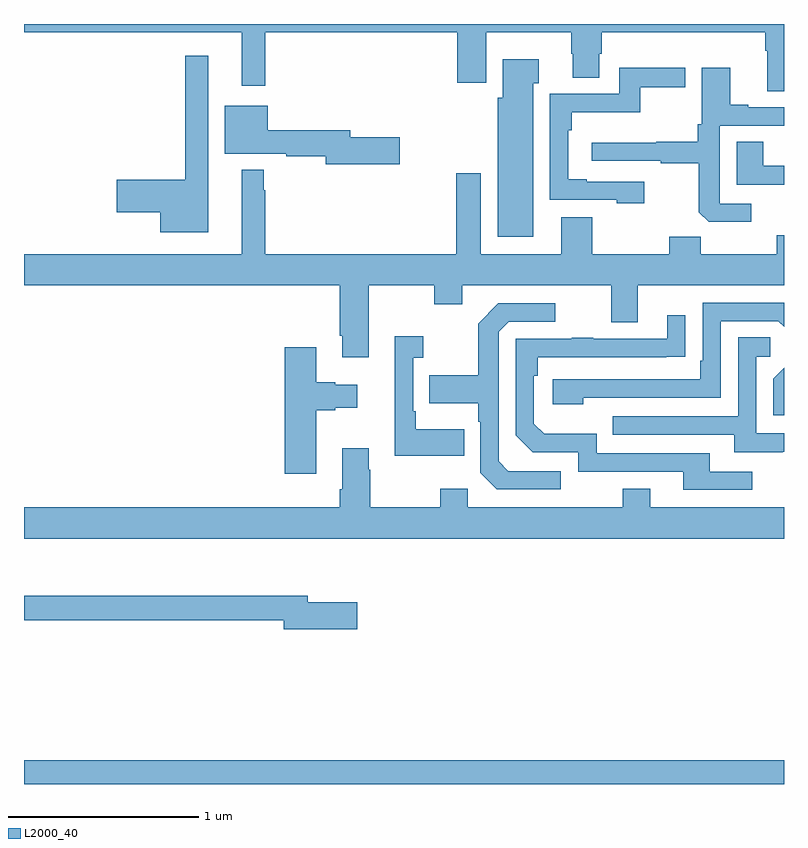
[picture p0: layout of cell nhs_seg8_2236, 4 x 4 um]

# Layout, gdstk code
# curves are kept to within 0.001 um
import gdstk
lib = gdstk.Library(unit=1e-6, precision=1e-09)
def R(c, l, rs):  # rectangles x0, y0, x1, y1
    for r in rs: c.add(gdstk.rectangle(r[:2], r[2:], *l))
def P(c, l, *ps):  # polygons
    for p in ps: c.add(gdstk.Polygon(p, *l))
L2000_40 = (2000, 40)

nhs_seg8_2236 = lib.new_cell('nhs_seg8_2236')
R(nhs_seg8_2236, L2000_40, [(253,1089.9,257,1090.024)])
P(nhs_seg8_2236, L2000_40, [(257,1093.9),(253,1093.9),(253,1093.856),(254.147,1093.856),(254.147,1093.575),(254.269,1093.575),(254.269,1093.856),(255.281,1093.856),(255.281,1093.59),(255.433,1093.59),(255.433,1093.856),(255.88,1093.856),(255.88,1093.743),(255.887,1093.743),(255.887,1093.618),(256.027,1093.618),(256.027,1093.743),(256.04,1093.743),(256.04,1093.856),(256.901,1093.856),(256.901,1093.76),(256.913,1093.76),(256.913,1093.546),(257,1093.546)],
  [(253.969,1093.732),(253.848,1093.732),(253.848,1093.079),(253.488,1093.079),(253.488,1092.908),(253.718,1092.908),(253.718,1092.803),(253.969,1092.803)],
  [(255.679,1093.589),(255.709,1093.589),(255.709,1093.714),(255.521,1093.714),(255.521,1093.512),(255.494,1093.512),(255.494,1092.779),(255.679,1092.779)],
  [(256.264,1093.071),(255.961,1093.071),(255.961,1093.084),(255.864,1093.084),(255.864,1093.34),(255.884,1093.34),(255.884,1093.436),(256.243,1093.436),(256.243,1093.567),(256.48,1093.567),(256.48,1093.67),(256.134,1093.67),(256.134,1093.533),(255.768,1093.533),(255.768,1092.975),(256.119,1092.975),(256.119,1092.956),(256.264,1092.956)],
  [(256.828,1092.954),(256.662,1092.954),(256.662,1093.365),(257,1093.365),(257,1093.461),(256.813,1093.461),(256.813,1093.474),(256.717,1093.474),(256.717,1093.669),(256.566,1093.669),(256.566,1093.372),(256.546,1093.372),(256.546,1093.28),(256.327,1093.28),(256.327,1093.276),(255.987,1093.276),(255.987,1093.179),(256.351,1093.179),(256.351,1093.167),(256.551,1093.167),(256.551,1092.909),(256.603,1092.858),(256.828,1092.858)],
  [(254.977,1093.304),(254.716,1093.304),(254.716,1093.34),(254.284,1093.34),(254.284,1093.471),(254.057,1093.471),(254.057,1093.217),(254.38,1093.217),(254.38,1093.204),(254.588,1093.204),(254.588,1093.162),(254.977,1093.162)],
  [(257,1093.155),(256.891,1093.155),(256.891,1093.28),(256.751,1093.28),(256.751,1093.054),(257,1093.054)],
  [(257,1092.787),(256.961,1092.787),(256.961,1092.688),(256.561,1092.688),(256.561,1092.781),(256.397,1092.781),(256.397,1092.688),(255.991,1092.688),(255.991,1092.883),(255.827,1092.883),(255.827,1092.688),(255.403,1092.688),(255.403,1093.114),(255.275,1093.114),(255.275,1092.688),(254.269,1092.688),(254.269,1093.025),(254.262,1093.025),(254.262,1093.132),(254.147,1093.132),(254.147,1092.688),(253,1092.688),(253,1092.524),(254.663,1092.524),(254.663,1092.259),(254.675,1092.259),(254.675,1092.147),(254.815,1092.147),(254.815,1092.524),(255.16,1092.524),(255.16,1092.425),(255.307,1092.425),(255.307,1092.524),(256.091,1092.524),(256.091,1092.33),(256.231,1092.33),(256.231,1092.524),(257,1092.524)],
  [(255.944,1091.934),(256.668,1091.934),(256.668,1092.336),(256.971,1092.336),(257,1092.307),(257,1092.432),(256.572,1092.432),(256.572,1092.127),(256.559,1092.127),(256.559,1092.03),(255.783,1092.03),(255.783,1091.9),(255.944,1091.9)],
  [(255.826,1091.547),(255.549,1091.547),(255.498,1091.598),(255.498,1092.279),(255.552,1092.333),(255.796,1092.333),(255.796,1092.429),(255.495,1092.429),(255.39,1092.323),(255.39,1092.051),(255.133,1092.051),(255.133,1091.903),(255.39,1091.903),(255.39,1091.807),(255.402,1091.807),(255.402,1091.538),(255.489,1091.451),(255.826,1091.451)],
  [(256.834,1091.544),(256.609,1091.544),(256.609,1091.64),(256.014,1091.64),(256.014,1091.743),(255.737,1091.743),(255.684,1091.796),(255.684,1092.05),(255.704,1092.05),(255.704,1092.147),(256.481,1092.148),(256.481,1092.367),(256.385,1092.367),(256.385,1092.243),(255.995,1092.243),(255.995,1092.248),(255.883,1092.248),(255.883,1092.243),(255.588,1092.243),(255.588,1091.736),(255.678,1091.646),(255.918,1091.646),(255.918,1091.544),(256.469,1091.544),(256.469,1091.448),(256.834,1091.448)],
  [(255.317,1091.767),(255.061,1091.767),(255.061,1091.863),(255.048,1091.863),(255.048,1092.143),(255.1,1092.143),(255.1,1092.256),(254.951,1092.256),(254.951,1091.627),(255.317,1091.627)],
  [(256.993,1091.649),(257,1091.649),(257,1091.745),(256.854,1091.745),(256.854,1092.15),(256.927,1092.15),(256.927,1092.251),(256.758,1092.251),(256.758,1091.835),(256.099,1091.835),(256.099,1091.739),(256.739,1091.739),(256.739,1091.645),(256.993,1091.645)],
  [(254.539,1091.867),(254.639,1091.867),(254.639,1091.879),(254.755,1091.879),(254.755,1092.001),(254.639,1092.001),(254.639,1092.014),(254.539,1092.014),(254.539,1092.199),(254.372,1092.199),(254.372,1091.532),(254.539,1091.532)],
  [(257,1092.09),(256.944,1092.034),(256.944,1091.841),(257,1091.841)],
  [(257,1091.356),(256.297,1091.356),(256.297,1091.455),(256.15,1091.455),(256.15,1091.356),(255.336,1091.356),(255.336,1091.455),(255.19,1091.455),(255.19,1091.356),(254.823,1091.356),(254.823,1091.555),(254.815,1091.555),(254.815,1091.668),(254.675,1091.668),(254.675,1091.452),(254.663,1091.452),(254.663,1091.356),(253,1091.356),(253,1091.192),(257,1091.192)],
  [(254.755,1090.857),(254.494,1090.857),(254.494,1090.891),(253,1090.891),(253,1090.762),(254.366,1090.762),(254.366,1090.715),(254.755,1090.715)])

lib.write_gds('nhs_seg8_2236.gds')
